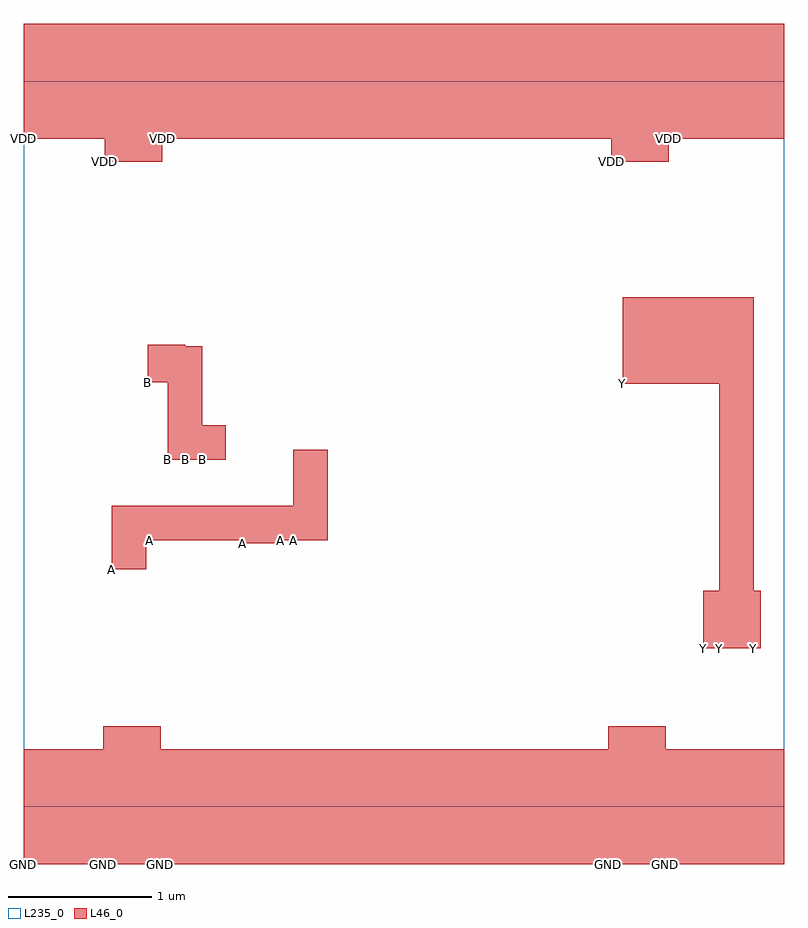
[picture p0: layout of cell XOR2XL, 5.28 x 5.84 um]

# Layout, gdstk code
import gdstk
lib = gdstk.Library(unit=1e-6, precision=1e-09)
def R(c, l, rs):  # rectangles x0, y0, x1, y1
    for r in rs: c.add(gdstk.rectangle(r[:2], r[2:], *l))
L46_0 = (46, 0)
L235_0 = (235, 0)

xor2xl = lib.new_cell('XOR2XL')
R(xor2xl, L46_0, [(0,-0.4,0.55,0.4), (0.55,-0.4,0.95,0.56), (0.95,-0.4,4.06,0.4), (4.06,-0.4,4.46,0.56), (4.46,-0.4,5.28,0.4), (4.72,1.1,4.83,1.5), (4.83,1.1,5.07,3.54), (5.07,1.1,5.12,1.5), (0.61,1.65,0.85,2.09), (1.52,1.83,1.78,2.09), (0.85,1.84,0.87,2.09), (0.87,1.85,1.52,2.09), (1.78,1.85,1.87,2.09), (1.87,1.85,2.11,2.48), (1,2.41,1.12,3.21), (1.12,2.41,1.24,3.2), (1.24,2.41,1.4,2.65), (4.16,2.94,4.83,3.54), (0.86,2.95,1,3.21), (0.56,4.48,0.96,5.44), (4.08,4.48,4.48,5.44), (0,4.64,0.56,5.44), (0.96,4.64,4.08,5.44), (4.48,4.64,5.28,5.44)])
R(xor2xl, L235_0, [(0,0,5.28,5.04)])
xor2xl.add(gdstk.Label('Y', (5.07,1.1), layer=101, texttype=0))
xor2xl.add(gdstk.Label('Y', (4.83,1.1), layer=101, texttype=0))
xor2xl.add(gdstk.Label('Y', (4.72,1.1), layer=101, texttype=0))
xor2xl.add(gdstk.Label('Y', (4.16,2.94), layer=101, texttype=0))
xor2xl.add(gdstk.Label('B', (1.24,2.41), layer=101, texttype=0))
xor2xl.add(gdstk.Label('B', (1.12,2.41), layer=101, texttype=0))
xor2xl.add(gdstk.Label('B', (1,2.41), layer=101, texttype=0))
xor2xl.add(gdstk.Label('B', (0.86,2.95), layer=101, texttype=0))
xor2xl.add(gdstk.Label('A', (1.87,1.85), layer=101, texttype=0))
xor2xl.add(gdstk.Label('A', (1.78,1.85), layer=101, texttype=0))
xor2xl.add(gdstk.Label('A', (1.52,1.83), layer=101, texttype=0))
xor2xl.add(gdstk.Label('A', (0.87,1.85), layer=101, texttype=0))
xor2xl.add(gdstk.Label('A', (0.85,1.84), layer=101, texttype=0))
xor2xl.add(gdstk.Label('A', (0.61,1.65), layer=101, texttype=0))
xor2xl.add(gdstk.Label('VDD', (4.48,4.64), layer=101, texttype=0))
xor2xl.add(gdstk.Label('VDD', (4.08,4.48), layer=101, texttype=0))
xor2xl.add(gdstk.Label('VDD', (0.96,4.64), layer=101, texttype=0))
xor2xl.add(gdstk.Label('VDD', (0.56,4.48), layer=101, texttype=0))
xor2xl.add(gdstk.Label('VDD', (0,4.64), layer=101, texttype=0))
xor2xl.add(gdstk.Label('GND', (4.46,-0.4), layer=101, texttype=0))
xor2xl.add(gdstk.Label('GND', (4.06,-0.4), layer=101, texttype=0))
xor2xl.add(gdstk.Label('GND', (0.95,-0.4), layer=101, texttype=0))
xor2xl.add(gdstk.Label('GND', (0.55,-0.4), layer=101, texttype=0))
xor2xl.add(gdstk.Label('GND', (0,-0.4), layer=101, texttype=0))

lib.write_gds('XOR2XL.gds')
